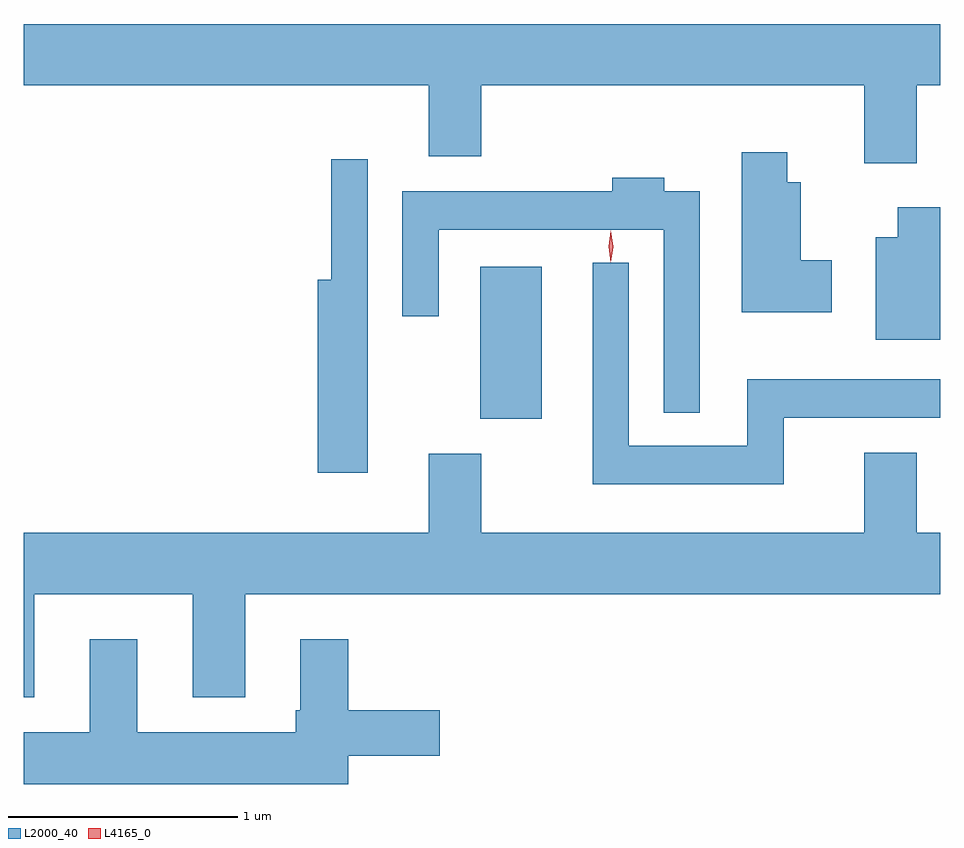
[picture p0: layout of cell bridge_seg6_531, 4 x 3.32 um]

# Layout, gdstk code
import gdstk
lib = gdstk.Library(unit=1e-6, precision=1e-09)
def R(c, l, rs):  # rectangles x0, y0, x1, y1
    for r in rs: c.add(gdstk.rectangle(r[:2], r[2:], *l))
def P(c, l, *ps):  # polygons
    for p in ps: c.add(gdstk.Polygon(p, *l))
L2000_40 = (2000, 40)
L4165_0 = (4165, 0)

bridge_seg6_531 = lib.new_cell('bridge_seg6_531')
R(bridge_seg6_531, L2000_40, [(411.736,1666.241,412.004,1666.904)])
P(bridge_seg6_531, L2000_40, [(413.639,1667.696),(413.743,1667.696),(413.743,1667.964),(409.743,1667.964),(409.743,1667.696),(411.511,1667.696),(411.511,1667.386),(411.739,1667.386),(411.739,1667.696),(413.411,1667.696),(413.411,1667.356),(413.639,1667.356)],
  [(413.269,1666.934),(413.134,1666.934),(413.134,1667.274),(413.074,1667.274),(413.074,1667.404),(412.876,1667.404),(412.876,1666.706),(413.269,1666.706)],
  [(411.244,1667.373),(411.086,1667.373),(411.086,1666.849),(411.026,1666.849),(411.026,1666.006),(411.244,1666.006)],
  [(412.694,1667.234),(412.539,1667.234),(412.539,1667.294),(412.311,1667.294),(412.311,1667.234),(411.396,1667.234),(411.396,1666.688),(411.554,1666.688),(411.554,1667.066),(412.536,1667.066),(412.536,1666.268),(412.694,1666.268)],
  [(413.743,1667.164),(413.556,1667.164),(413.556,1667.034),(413.461,1667.034),(413.461,1666.586),(413.743,1666.586)],
  [(413.059,1666.246),(413.743,1666.246),(413.743,1666.414),(412.901,1666.414),(412.901,1666.124),(412.384,1666.124),(412.384,1666.923),(412.226,1666.923),(412.226,1665.956),(413.059,1665.956)],
  [(409.789,1665.476),(410.481,1665.476),(410.481,1665.026),(410.709,1665.026),(410.709,1665.476),(413.743,1665.476),(413.743,1665.744),(413.639,1665.744),(413.639,1666.094),(413.411,1666.094),(413.411,1665.744),(411.739,1665.744),(411.739,1666.089),(411.511,1666.089),(411.511,1665.744),(409.743,1665.744),(409.743,1665.026),(409.789,1665.026)],
  [(411.159,1664.771),(411.559,1664.771),(411.559,1664.969),(411.159,1664.969),(411.159,1665.279),(410.951,1665.279),(410.951,1664.969),(410.931,1664.969),(410.931,1664.874),(410.239,1664.874),(410.239,1665.279),(410.031,1665.279),(410.031,1664.874),(409.743,1664.874),(409.743,1664.648),(411.159,1664.648)])
P(bridge_seg6_531, L4165_0, [(412.304,1666.927),(412.295,1666.994),(412.304,1667.06),(412.305,1667.06),(412.305,1667.06),(412.315,1666.994),(412.305,1666.927),(412.305,1666.927)],
  [(412.304,1666.924),(412.295,1666.993),(412.304,1667.062),(412.305,1667.063),(412.305,1667.062),(412.315,1666.993),(412.305,1666.924),(412.305,1666.924)])

lib.write_gds('bridge_seg6_531.gds')
